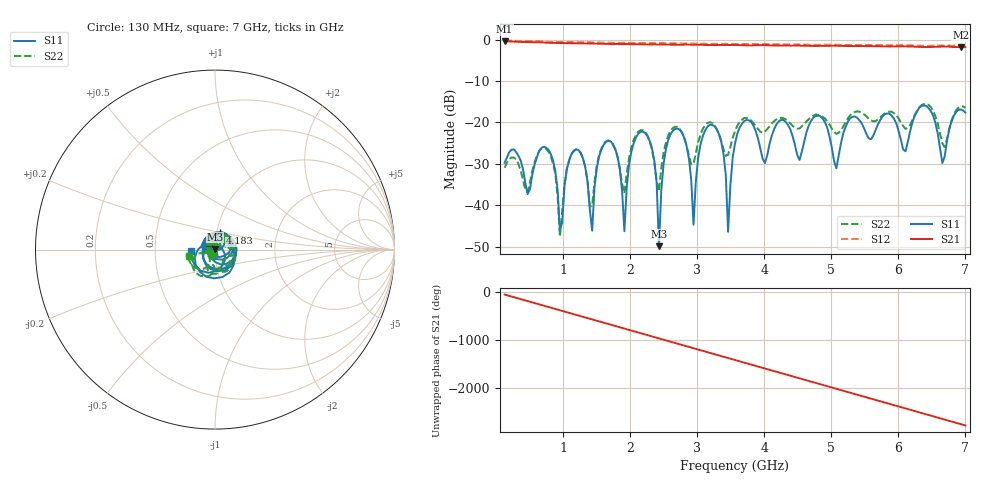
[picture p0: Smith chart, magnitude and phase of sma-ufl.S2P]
! C:\Users\sebas\Desktop\sma-ufl.S2P
! Touchstone 1.1 file saved by VNA.EXE V1.65 (www.ke5fx.com/gpib/readme.htm)
! 20.02.2024 21:17:36
!  Source: HEWLETT PACKARD,8720A,0,1.01
!  Min freq: 1.300000E+008 Hz
!  Max freq: 7.000000E+009 Hz
!  Points: 201
!  Params: S11 S21 S12 S22
# GHZ S MA R 50
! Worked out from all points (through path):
!   201 points, 130 MHz to 7 GHz, reference 50 ohm
!   highest |S21| = -0.36 dB at 130 MHz (marker M1); lowest = -1.8 dB at 6.931 GHz (marker M2)
!   group delay of S21, straight-line fit = 1.11 ns
!   lowest |S11| = -49.9 dB at 2.431 GHz (marker M3), VSWR 1.01, Z = 50 + j0.319 ohm
!   |S11| at or under -10 dB: start of sweep to end of sweep
!   |S22| runs from -47.6 to -15.5 dB; largest |S21 - S12| = 0.038
!   S11 on the Smith chart (normalised r, x): 130 MHz: 0.97, -0.06; 4.183 GHz: 1.04, +0.19; 7 GHz: 0.77, -0.01
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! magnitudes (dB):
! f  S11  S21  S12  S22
! 130 MHz  -29.8  -0.4  -0.2  -30.9
! 782.6 MHz  -26.6  -0.7  -0.5  -27.0
! 954.4 MHz  -46.0  -0.8  -0.5  -47.6
! 1.298 GHz  -28.7  -0.9  -0.6  -28.8
! 1.435 GHz  -46.1  -0.9  -0.7  -40.2
! 1.744 GHz  -25.2  -1.1  -0.7  -25.4
! 1.916 GHz  -46.3  -1.0  -0.7  -37.1
! 2.225 GHz  -22.5  -1.1  -0.8  -22.3
! 2.363 GHz  -29.3  -1.1  -0.8  -29.8
! 2.431 GHz  -49.9  -1.2  -0.8  -36.6
! 2.638 GHz  -22.0  -1.2  -0.9  -21.4
! 2.947 GHz  -44.7  -1.2  -0.9  -30.0
! 3.221 GHz  -20.6  -1.3  -1.0  -20.1
! 3.462 GHz  -46.4  -1.3  -1.0  -27.8
! 3.565 GHz  -25.1  -1.3  -1.0  -22.1
! 4.183 GHz  -20.4  -1.4  -1.1  -19.2
! 4.733 GHz  -18.8  -1.5  -1.2  -18.4
! 5.076 GHz  -31.1  -1.5  -1.2  -22.8
! 5.866 GHz  -17.9  -1.6  -1.3  -17.4
! 6.657 GHz  -29.8  -1.7  -1.4  -25.0
! 6.931 GHz  -16.9  -1.8  -1.5  -16.1
! 7 GHz  -17.6  -1.8  -1.5  -16.4
